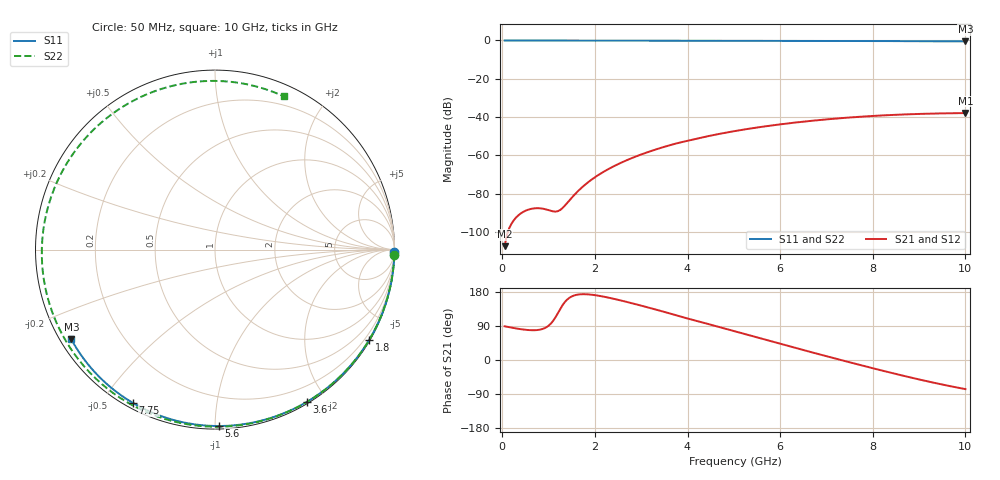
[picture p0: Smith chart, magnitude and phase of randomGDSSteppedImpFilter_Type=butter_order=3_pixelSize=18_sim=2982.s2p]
! freq	dB(S11)	phase(S11)	dB(S12)	phase(S12)
!  dB(S21)	phase(S21)	dB(S22)	phase(S22)
!S-par simulation data
#  GHz  S  DB  R 50
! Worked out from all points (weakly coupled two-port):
!   200 points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, 50 MHz to 10 GHz, reference 50 ohm
!   highest |S21| = -37.93 dB at 10 GHz (marker M1); lowest = -107.5 dB at 50 MHz (marker M2)
!   lowest |S11| = -0.5 dB at 10 GHz (marker M3), VSWR 34.59, Z = 1.56 - j14.3 ohm
!   |S11| at or under -10 dB: nowhere
!   |S22| runs from -0.6 to 0.0 dB; largest |S21 - S12| = 0
!   S11 on the Smith chart (normalised r, x): 50 MHz: open; 1.8 GHz: 0.03, -3.70; 3.6 GHz: 0.02, -1.77; 5.6 GHz: 0.02, -1.02; 7.75 GHz: 0.02, -0.60; 10 GHz: 0.03, -0.29
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0.05  -0.00 -0.9  -107.45 88.9  -107.45 88.9  -0.00 -1.6
0.75  -0.02 -12.7  -87.61 79.0  -87.61 79.0  -0.03 -23.1
1.55  -0.03 -26.1  -80.80 170.2  -80.80 170.2  -0.06 -47.1
1.75  -0.04 -29.4  -76.11 173.7  -76.11 173.7  -0.07 -53.0
1.8  -0.04 -30.3  -75.09 173.6  -75.09 173.6  -0.07 -54.5
2.1  -0.05 -35.2  -69.89 169.2  -69.89 169.2  -0.08 -63.2
2.45  -0.05 -40.8  -65.19 160.3  -65.19 160.3  -0.09 -73.2
2.9  -0.06 -48.0  -60.46 146.6  -60.46 146.6  -0.11 -85.8
3.4  -0.07 -55.9  -56.28 130.3  -56.28 130.3  -0.13 -99.5
3.6  -0.08 -59.0  -54.84 123.4  -54.84 123.4  -0.14 -104.9
4.3  -0.10 -69.7  -50.75 99.8  -50.75 99.8  -0.17 -123.5
5.05  -0.12 -80.8  -47.21 74.6  -47.21 74.6  -0.21 -143.3
5.6  -0.15 -88.7  -45.13 56.1  -45.13 56.1  -0.25 -157.8
6.15  -0.17 -96.4  -43.38 37.8  -43.38 37.8  -0.29 -172.6
6.7  -0.20 -104.0  -41.92 19.7  -41.92 19.7  -0.33 172.2
7.25  -0.24 -111.5  -40.71 2.0  -40.71 2.0  -0.38 156.4
7.75  -0.27 -118.2  -39.81 -13.9  -39.81 -13.9  -0.42 141.3
8.35  -0.33 -126.1  -38.99 -32.4  -38.99 -32.4  -0.47 122.4
8.8  -0.37 -132.1  -38.54 -45.7  -38.54 -45.7  -0.51 107.6
9.2  -0.41 -137.4  -38.25 -56.8  -38.25 -56.8  -0.53 93.9
9.6  -0.45 -142.7  -38.05 -67.3  -38.05 -67.3  -0.56 80.0
10  -0.50 -148.0  -37.93 -76.8  -37.93 -76.8  -0.58 65.8
